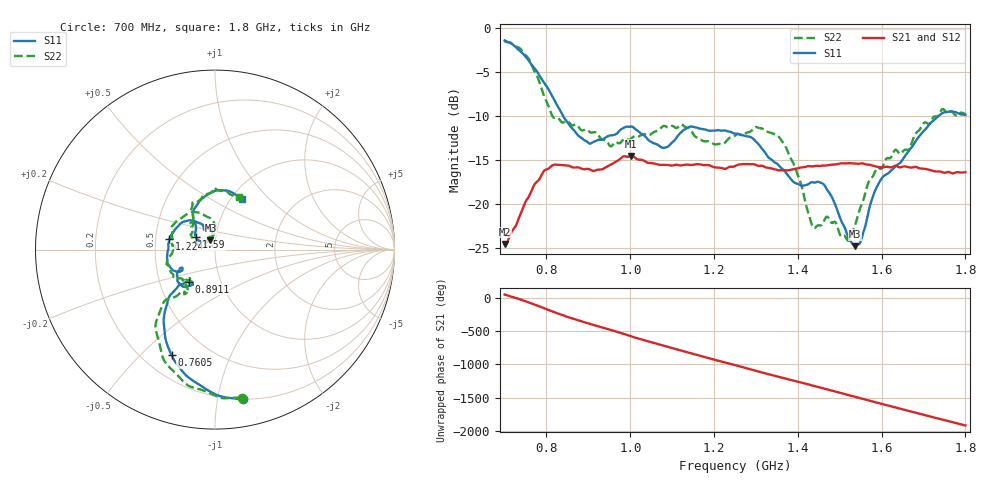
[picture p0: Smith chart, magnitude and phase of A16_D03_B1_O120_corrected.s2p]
! Created with skrf 1.9.0 (http://scikit-rf.org).
# Hz S RI R 50.0
!freq ReS11 ImS11 ReS21 ImS21 ReS12 ImS12 ReS22 ImS22
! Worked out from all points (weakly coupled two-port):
!   1601 points, 700 MHz to 1.8 GHz, reference 50 ohm
!   highest |S21| = -14.57 dB at 1.002 GHz (marker M1); lowest = -24.6 dB at 701.4 MHz (marker M2)
!   lowest |S11| = -24.8 dB at 1.536 GHz (marker M3), VSWR 1.12, Z = 47.3 + j4.89 ohm
!   |S11| at or under -10 dB: 839.5 MHz to 1.736 GHz (896.8 MHz wide, 69.6 % of centre)
!   |S22| runs from -24.2 to -1.5 dB; largest |S21 - S12| = 0.0035
!   S11 on the Smith chart (normalised r, x): 700 MHz: 0.20, -1.19; 760.5 MHz: 0.32, -0.62; 891.1 MHz: 0.71, -0.27; 1.224 GHz: 0.59, +0.07; 1.59 GHz: 0.80, +0.11; 1.8 GHz: 1.12, +0.71
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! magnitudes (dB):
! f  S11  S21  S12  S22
! 700 MHz  -1.4  -24.6  -24.4  -1.5
! 701.4 MHz  -1.5  -24.6  -24.2  -1.5
! 760.5 MHz  -3.9  -18.9  -18.8  -3.8
! 814.8 MHz  -7.9  -15.6  -15.7  -10.1
! 883.6 MHz  -12.5  -16.0  -15.9  -11.7
! 891.1 MHz  -12.8  -16.1  -16.1  -11.6
! 953 MHz  -12.2  -15.6  -15.6  -13.5
! 1.002 GHz  -11.2  -14.6  -14.7  -12.6
! 1.067 GHz  -13.3  -15.6  -15.5  -11.7
! 1.143 GHz  -11.2  -15.6  -15.6  -11.5
! 1.224 GHz  -11.7  -16.0  -16.0  -13.1
! 1.25 GHz  -12.0  -15.7  -15.7  -12.3
! 1.356 GHz  -15.7  -16.2  -16.1  -12.5
! 1.394 GHz  -17.7  -16.0  -16.0  -16.0
! 1.434 GHz  -17.6  -15.8  -15.7  -22.4
! 1.465 GHz  -18.0  -15.7  -15.6  -21.7
! 1.52 GHz  -23.7  -15.4  -15.4  -24.2
! 1.536 GHz  -24.8  -15.4  -15.4  -22.6
! 1.59 GHz  -17.9  -15.8  -15.8  -15.9
! 1.617 GHz  -16.5  -15.8  -15.8  -14.8
! 1.74 GHz  -9.9  -16.4  -16.4  -9.6
! 1.8 GHz  -9.9  -16.4  -16.4  -9.8
